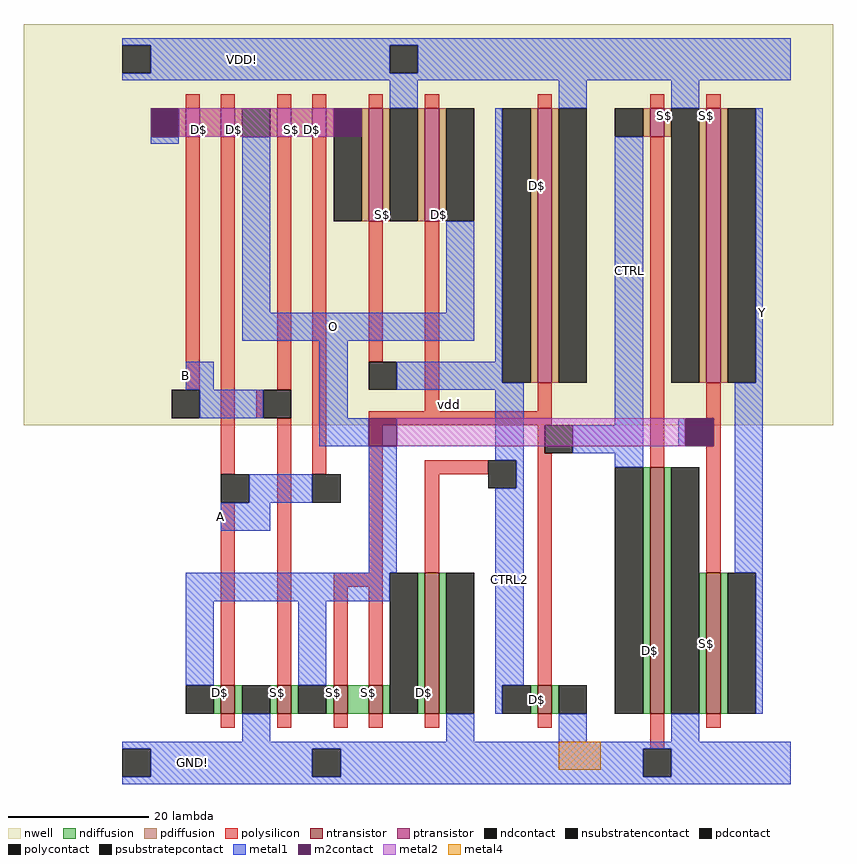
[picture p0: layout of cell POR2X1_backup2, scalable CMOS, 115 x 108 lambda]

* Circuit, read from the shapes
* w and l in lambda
.subckt POR2X1_backup2 VDD! GND! B A Y
M1 GND! A O GND! nfet w=4 l=2
M2 O B GND! GND! nfet w=4 l=2
M3 n1 CTRL O GND! nfet w=4 l=2 m=2
M4 GND! CTRL2 O GND! nfet w=20 l=2
M5 GND! CTRL CTRL2 GND! nfet w=4 l=2
M6 GND! GND! CTRL GND! nfet w=35 l=2
M7 Y O GND! GND! nfet w=20 l=2
M8 n2 B n3 VDD! pfet w=4 l=2
M9 O A n2 VDD! pfet w=4 l=2
M10 n4 B O VDD! pfet w=4 l=2
M11 n3 A n4 VDD! pfet w=4 l=2
M12 VDD! CTRL2 n3 VDD! pfet w=16 l=2
M13 O CTRL VDD! VDD! pfet w=16 l=2
M14 VDD! CTRL CTRL2 VDD! pfet w=39 l=2
M15 VDD! GND! CTRL VDD! pfet w=4 l=2
M16 Y O VDD! VDD! pfet w=39 l=2
.ends

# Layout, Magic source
magic
tech scmos
<< nwell >>
rect -15 48 100 105
<< ntransistor >>
rect 13 7 15 11
rect 21 7 23 11
rect 29 7 31 11
rect 34 7 36 11
rect 42 7 44 27
rect 58 7 60 11
rect 74 7 76 42
rect 82 7 84 27
<< ptransistor >>
rect 8 89 10 93
rect 13 89 15 93
rect 21 89 23 93
rect 26 89 28 93
rect 34 77 36 93
rect 42 77 44 93
rect 58 54 60 93
rect 74 89 76 93
rect 82 54 84 93
<< ndiffusion >>
rect 12 7 13 11
rect 15 7 16 11
rect 20 7 21 11
rect 23 7 24 11
rect 28 7 29 11
rect 31 7 34 11
rect 36 7 37 11
rect 41 7 42 27
rect 44 7 45 27
rect 57 7 58 11
rect 60 7 61 11
rect 73 7 74 42
rect 76 7 77 42
rect 81 7 82 27
rect 84 7 85 27
<< pdiffusion >>
rect 7 89 8 93
rect 10 89 13 93
rect 15 89 16 93
rect 20 89 21 93
rect 23 89 26 93
rect 28 89 29 93
rect 33 77 34 93
rect 36 77 37 93
rect 41 77 42 93
rect 44 77 45 93
rect 57 54 58 93
rect 60 54 61 93
rect 73 89 74 93
rect 76 89 77 93
rect 81 54 82 93
rect 84 54 85 93
<< ndcontact >>
rect 8 7 12 11
rect 16 7 20 11
rect 24 7 28 11
rect 37 7 41 27
rect 45 7 49 27
rect 53 7 57 11
rect 61 7 65 11
rect 69 7 73 42
rect 77 7 81 42
rect 85 7 89 27
<< pdcontact >>
rect 3 89 7 93
rect 16 89 20 93
rect 29 77 33 93
rect 37 77 41 93
rect 45 77 49 93
rect 53 54 57 93
rect 61 54 65 93
rect 69 89 73 93
rect 77 54 81 93
rect 85 54 89 93
<< psubstratepcontact >>
rect -1 -2 3 2
rect 26 -2 30 2
<< nsubstratencontact >>
rect -1 98 3 102
rect 37 98 41 102
<< polysilicon >>
rect 8 93 10 95
rect 13 93 15 95
rect 21 93 23 95
rect 26 93 28 95
rect 34 93 36 95
rect 42 93 44 95
rect 58 93 60 95
rect 74 93 76 95
rect 82 93 84 95
rect 8 53 10 89
rect 13 41 15 89
rect 21 53 23 89
rect 18 49 19 53
rect 13 11 15 37
rect 21 11 23 49
rect 26 41 28 89
rect 34 57 36 77
rect 42 50 44 77
rect 58 50 60 54
rect 34 48 60 50
rect 34 27 36 48
rect 58 44 59 48
rect 42 41 51 43
rect 42 27 44 41
rect 29 25 36 27
rect 29 11 31 25
rect 34 11 36 25
rect 58 11 60 44
rect 74 42 76 89
rect 82 49 84 54
rect 83 45 84 49
rect 82 27 84 45
rect 13 5 15 7
rect 21 5 23 7
rect 29 5 31 7
rect 34 5 36 7
rect 42 5 44 7
rect 58 5 60 7
rect 74 2 76 7
rect 82 5 84 7
<< polycontact >>
rect 6 49 10 53
rect 19 49 23 53
rect 13 37 17 41
rect 34 53 38 57
rect 26 37 30 41
rect 59 44 63 48
rect 51 39 55 43
rect 79 45 83 49
rect 73 -2 77 2
<< metal1 >>
rect -1 102 94 103
rect 3 98 37 102
rect 41 98 94 102
rect -1 97 94 98
rect 37 93 41 97
rect 61 93 65 97
rect 77 93 81 97
rect 3 88 7 89
rect 16 64 20 89
rect 45 64 49 77
rect 16 60 49 64
rect 8 53 12 57
rect 10 49 19 53
rect 27 49 31 60
rect 52 57 53 93
rect 38 54 53 57
rect 38 53 56 54
rect 27 45 34 49
rect 17 37 26 41
rect 13 33 20 37
rect 34 27 38 45
rect 52 43 56 53
rect 69 48 73 89
rect 89 54 90 93
rect 63 44 73 48
rect 78 45 79 49
rect 55 39 56 43
rect 8 23 37 27
rect 8 11 12 23
rect 24 11 28 23
rect 52 11 56 39
rect 69 42 73 44
rect 52 7 53 11
rect 86 27 90 54
rect 89 7 90 27
rect 16 3 20 7
rect 45 3 49 7
rect 61 3 65 7
rect 77 3 81 7
rect -1 2 94 3
rect 3 -2 26 2
rect 30 -2 73 2
rect 77 -2 94 2
rect -1 -3 94 -2
<< m2contact >>
rect 3 89 7 93
rect 29 89 33 93
rect 34 45 38 49
rect 79 45 83 49
<< metal2 >>
rect 7 89 29 93
rect 38 45 79 49
<< metal4 >>
rect 61 -1 67 3
<< labels >>
rlabel space -8 -3 99 105 1 vdd
rlabel space -8 -3 99 105 1 gnd
rlabel ptransistor 58 82 58 82 1 D$
rlabel ptransistor 60 82 60 82 1 S$
rlabel metal1 54 26 54 26 1 CTRL2
rlabel ntransistor 58 9 58 9 1 D$
rlabel ntransistor 60 9 60 9 1 S$
rlabel ntransistor 82 17 82 17 1 S$
rlabel ntransistor 84 17 84 17 1 D$
rlabel ptransistor 82 92 82 92 1 S$
rlabel ptransistor 84 92 84 92 1 D$
rlabel metal1 90 62 90 66 1 Y
port 5 n signal output
rlabel ptransistor 76 92 76 92 1 S$
rlabel ptransistor 74 92 74 92 1 D$
rlabel ntransistor 74 16 74 16 1 D$
rlabel ntransistor 76 16 76 16 1 S$
rlabel metal1 71 70 71 70 1 CTRL
rlabel metal1 8 53 8 57 1 B
port 3 n signal input
rlabel metal1 29 62 29 62 1 O
rlabel metal1 9 0 9 0 1 GND!
port 2 n power bidirectional
rlabel metal1 16 100 16 100 1 VDD!
port 1 n power bidirectional
rlabel metal1 13 33 13 37 1 A
port 4 n signal input
rlabel ptransistor 23 90 23 90 1 S$
rlabel ptransistor 21 90 21 90 1 D$
rlabel ptransistor 15 90 15 90 1 D$
rlabel ptransistor 13 90 13 90 1 S$
rlabel ptransistor 10 90 10 90 1 D$
rlabel ptransistor 8 90 8 90 1 S$
rlabel ptransistor 26 90 26 90 1 D$
rlabel ptransistor 28 90 28 90 1 S$
rlabel ptransistor 44 78 44 78 1 D$
rlabel ptransistor 42 78 42 78 1 S$
rlabel ptransistor 36 78 36 78 1 S$
rlabel ptransistor 34 78 34 78 1 D$
rlabel space -15 -3 100 105 1 vdd
rlabel space -15 -3 100 105 1 gnd
rlabel ntransistor 42 10 42 10 1 D$
rlabel ntransistor 44 9 44 9 1 S$
rlabel ntransistor 34 10 34 10 1 S$
rlabel ntransistor 36 9 36 9 1 D$
rlabel ntransistor 29 10 29 10 1 S$
rlabel ntransistor 31 9 31 9 1 D$
rlabel ntransistor 21 10 21 10 1 S$
rlabel ntransistor 23 9 23 9 1 D$
rlabel ntransistor 13 10 13 10 1 D$
rlabel ntransistor 15 9 15 9 1 S$
<< end >>
